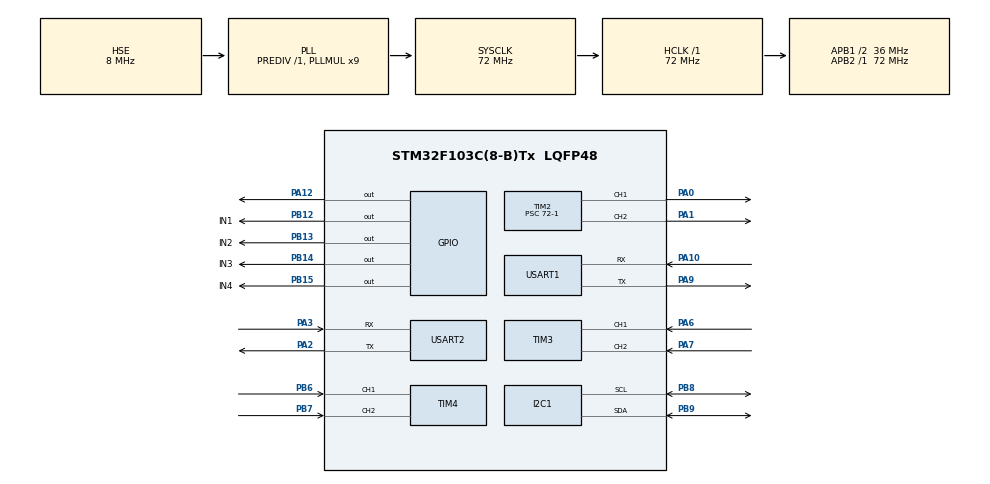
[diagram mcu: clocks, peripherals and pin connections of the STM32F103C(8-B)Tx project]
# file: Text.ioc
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Dma.Request0=USART1_RX
Dma.Request1=USART2_RX
Dma.USART1_RX.0.Direction=DMA_PERIPH_TO_MEMORY
Dma.USART1_RX.0.Instance=DMA1_Channel5
Dma.USART1_RX.0.MemDataAlignment=DMA_MDATAALIGN_BYTE
Dma.USART1_RX.0.MemInc=DMA_MINC_ENABLE
Dma.USART1_RX.0.Mode=DMA_NORMAL
Dma.USART1_RX.0.PeriphDataAlignment=DMA_PDATAALIGN_BYTE
Dma.USART1_RX.0.PeriphInc=DMA_PINC_DISABLE
Dma.USART1_RX.0.Priority=DMA_PRIORITY_LOW
Dma.USART2_RX.1.Direction=DMA_PERIPH_TO_MEMORY
Dma.USART2_RX.1.Instance=DMA1_Channel6
Dma.USART2_RX.1.MemDataAlignment=DMA_MDATAALIGN_BYTE
Dma.USART2_RX.1.MemInc=DMA_MINC_ENABLE
Dma.USART2_RX.1.Mode=DMA_NORMAL
Dma.USART2_RX.1.PeriphDataAlignment=DMA_PDATAALIGN_BYTE
Dma.USART2_RX.1.PeriphInc=DMA_PINC_DISABLE
Dma.USART2_RX.1.Priority=DMA_PRIORITY_LOW
Mcu.Family=STM32F1
Mcu.Name=STM32F103C(8-B)Tx
Mcu.Package=LQFP48
NVIC.DMA1_Channel5_IRQn=true\:0\:0\:false\:false\:true\:false\:true\:true
NVIC.DMA1_Channel6_IRQn=true\:0\:0\:false\:false\:true\:false\:true\:true
NVIC.PriorityGroup=NVIC_PRIORITYGROUP_4
NVIC.TIM1_UP_IRQn=true\:0\:0\:false\:false\:true\:true\:true\:true
NVIC.TIM2_IRQn=true\:0\:0\:false\:false\:true\:true\:true\:true
NVIC.USART1_IRQn=true\:0\:0\:false\:false\:true\:true\:true\:true
NVIC.USART2_IRQn=true\:0\:0\:false\:false\:true\:true\:true\:true
PA0-WKUP.Signal=S_TIM2_CH1_ETR
PA1.Signal=S_TIM2_CH2
PA10.Mode=Asynchronous
PA10.Signal=USART1_RX
PA12.Signal=GPIO_Output
PA13.Mode=Serial_Wire
PA13.Signal=SYS_JTMS-SWDIO
PA14.Mode=Serial_Wire
PA14.Signal=SYS_JTCK-SWCLK
PA2.Mode=Asynchronous
PA2.Signal=USART2_TX
PA3.Mode=Asynchronous
PA3.Signal=USART2_RX
PA6.Signal=S_TIM3_CH1
PA7.Signal=S_TIM3_CH2
PA9.Mode=Asynchronous
PA9.Signal=USART1_TX
PB12.GPIO_Label=IN1
PB12.Signal=GPIO_Output
PB13.GPIO_Label=IN2
PB13.Signal=GPIO_Output
PB14.GPIO_Label=IN3
PB14.Signal=GPIO_Output
PB15.GPIO_Label=IN4
PB15.Signal=GPIO_Output
PB6.Signal=S_TIM4_CH1
PB7.Signal=S_TIM4_CH2
PB8.Mode=I2C
PB8.Signal=I2C1_SCL
PB9.Mode=I2C
PB9.Signal=I2C1_SDA
PD0-OSC_IN.Mode=HSE-External-Oscillator
PD0-OSC_IN.Signal=RCC_OSC_IN
PD1-OSC_OUT.Mode=HSE-External-Oscillator
PD1-OSC_OUT.Signal=RCC_OSC_OUT
ProjectManager.HeapSize=0x200
ProjectManager.StackSize=0x400
ProjectManager.TargetToolchain=MDK-ARM V5.32
RCC.AHBFreq_Value=72000000
RCC.APB1CLKDivider=RCC_HCLK_DIV2
RCC.APB1Freq_Value=36000000
RCC.APB1TimFreq_Value=72000000
RCC.APB2Freq_Value=72000000
RCC.APB2TimFreq_Value=72000000
RCC.HCLKFreq_Value=72000000
RCC.PLLMUL=RCC_PLL_MUL9
RCC.PLLSourceVirtual=RCC_PLLSOURCE_HSE
RCC.SYSCLKFreq_VALUE=72000000
RCC.SYSCLKSource=RCC_SYSCLKSOURCE_PLLCLK
RCC.USBFreq_Value=72000000
SH.S_TIM2_CH1_ETR.0=TIM2_CH1,PWM Generation1 CH1
SH.S_TIM2_CH2.0=TIM2_CH2,PWM Generation2 CH2
SH.S_TIM3_CH1.0=TIM3_CH1,Encoder_Interface
SH.S_TIM3_CH2.0=TIM3_CH2,Encoder_Interface
SH.S_TIM4_CH1.0=TIM4_CH1,Encoder_Interface
SH.S_TIM4_CH2.0=TIM4_CH2,Encoder_Interface
TIM1.Period=10000-1
TIM1.Prescaler=72-1
TIM2.Channel-PWM\ Generation1\ CH1=TIM_CHANNEL_1
TIM2.Channel-PWM\ Generation2\ CH2=TIM_CHANNEL_2
TIM2.Period=1000-1
TIM2.Prescaler=72-1
USART1.VirtualMode=VM_ASYNC
USART2.VirtualMode=VM_ASYNC
VP_TIM1_VS_ClockSourceINT.Mode=Internal
VP_TIM2_VS_ClockSourceINT.Mode=Internal
board=custom

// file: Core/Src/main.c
/* USER CODE BEGIN Header */
/**
  ******************************************************************************
  * @file           : main.c
  * @brief          : Main program body
  ******************************************************************************
  * @attention
  *
  * Copyright (c) 2023 STMicroelectronics.
  * All rights reserved.
  *
  * This software is licensed under terms that can be found in the LICENSE file
  * in the root directory of this software component.
  * If no LICENSE file comes with this software, it is provided AS-IS.
  *
  ******************************************************************************
  */
/* USER CODE END Header */
#include "main.h"
#include "dma.h"
#include "i2c.h"
#include "tim.h"
#include "usart.h"
#include "gpio.h"
#include "struct_typedef.h"
#include "stm32f1xx_it.h"
#include "pid.h"
//#include "oled.h"
#include "string.h"

/* USER CODE BEGIN PTD */
uint8_t arr[ARRLEN]={0};
uint8_t str[STRLEN]={0};

extern fp32 set_speed[2];
extern int mode;
extern int biaozhi;
/* USER CODE END PTD */

void SystemClock_Config(void);

int main(void)
{

  /* MCU Configuration--------------------------------------------------------*/

  /* Reset of all peripherals, Initializes the Flash interface and the Systick. */
  HAL_Init();

  /* Configure the system clock */
  SystemClock_Config();

  /* USER CODE BEGIN SysInit */
	Chassis_Init();
//	OLED_Init ();
  /* USER CODE END SysInit */

  /* Initialize all configured peripherals */
  MX_GPIO_Init();
  MX_DMA_Init();
  MX_I2C1_Init();
  MX_TIM1_Init();
  MX_TIM2_Init();
  MX_TIM3_Init();
  MX_TIM4_Init();
  MX_USART1_UART_Init();
  MX_USART2_UART_Init();
  /* USER CODE BEGIN 2 */
  __HAL_UART_ENABLE_IT(&huart1,UART_IT_IDLE);
  HAL_UART_Receive_DMA(&huart1,arr,ARRLEN);
  __HAL_UART_ENABLE_IT(&huart2,UART_IT_IDLE);
  HAL_UART_Receive_DMA(&huart2,str,STRLEN);
  HAL_TIM_Encoder_Start(&htim3, TIM_CHANNEL_ALL);
  HAL_TIM_Encoder_Start(&htim4, TIM_CHANNEL_ALL);
  HAL_TIM_Base_Start_IT(&htim1);
  HAL_TIM_Base_Start_IT(&htim2);
  HAL_TIM_PWM_Start(&htim2,TIM_CHANNEL_1);
  HAL_TIM_PWM_Start(&htim2,TIM_CHANNEL_2);
  HAL_TIM_PWM_Start(&htim1,TIM_CHANNEL_1);
  HAL_TIM_PWM_Start(&htim1,TIM_CHANNEL_4);
  /* USER CODE END 2 */

  /* Infinite loop */
  while (1)
  {
	  if(mode==0)
	  {

			Chassis_Speed ();
			Chassis_Circle ();

	  }
	   else  if(mode==1)
	  {
		  delay(2000);
		  buzzer();
			delay(2000);
		  set_speed [0]=0.5;
		  set_speed [1]=0.5;
		   Chassis_Speed ();
		  Chassis_Circle();
		  buzzer ();
			mode=0;
		  set_speed [0]=0;
		  set_speed [1]=0;
		   Chassis_Speed ();
		  Chassis_Circle();

	  }
		else if(mode==2)
		{

			delay (2000);
			buzzer ();
			biaozhi =1;
			delay (2000);
			biaozhi=0;
			buzzer ();
			mode=0;
		}

	else 	if(mode==3)
		{
		delay (1000);
		set_speed [0]=0.5;
		set_speed [1]=0.5;
			Chassis_Speed ();
			Chassis_Circle ();

			biaozhi =1;
			delay (5000);
			biaozhi =0;
		set_speed [0]=0;
		set_speed [1]=0;
			Chassis_Speed ();
			Chassis_Circle ();

			mode=0;
		}
		else if(mode==4)
		{
		delay(1000);

		mode=0;
		}

  }
}

void SystemClock_Config(void)
{
  RCC_OscInitTypeDef RCC_OscInitStruct = {0};
  RCC_ClkInitTypeDef RCC_ClkInitStruct = {0};

  /** Initializes the RCC Oscillators according to the specified parameters
  * in the RCC_OscInitTypeDef structure.
  */
  RCC_OscInitStruct.OscillatorType = RCC_OSCILLATORTYPE_HSE;
  RCC_OscInitStruct.HSEState = RCC_HSE_ON;
  RCC_OscInitStruct.HSEPredivValue = RCC_HSE_PREDIV_DIV1;
  RCC_OscInitStruct.HSIState = RCC_HSI_ON;
  RCC_OscInitStruct.PLL.PLLState = RCC_PLL_ON;
  RCC_OscInitStruct.PLL.PLLSource = RCC_PLLSOURCE_HSE;
  RCC_OscInitStruct.PLL.PLLMUL = RCC_PLL_MUL9;
  if (HAL_RCC_OscConfig(&RCC_OscInitStruct) != HAL_OK)
  {
    Error_Handler();
  }

  /** Initializes the CPU, AHB and APB buses clocks
  */
  RCC_ClkInitStruct.ClockType = RCC_CLOCKTYPE_HCLK|RCC_CLOCKTYPE_SYSCLK
                              |RCC_CLOCKTYPE_PCLK1|RCC_CLOCKTYPE_PCLK2;
  RCC_ClkInitStruct.SYSCLKSource = RCC_SYSCLKSOURCE_PLLCLK;
  RCC_ClkInitStruct.AHBCLKDivider = RCC_SYSCLK_DIV1;
  RCC_ClkInitStruct.APB1CLKDivider = RCC_HCLK_DIV2;
  RCC_ClkInitStruct.APB2CLKDivider = RCC_HCLK_DIV1;

  if (HAL_RCC_ClockConfig(&RCC_ClkInitStruct, FLASH_LATENCY_2) != HAL_OK)
  {
    Error_Handler();
  }
}

void Error_Handler(void)
{
  __disable_irq();
  while (1)
  {
  }
}
